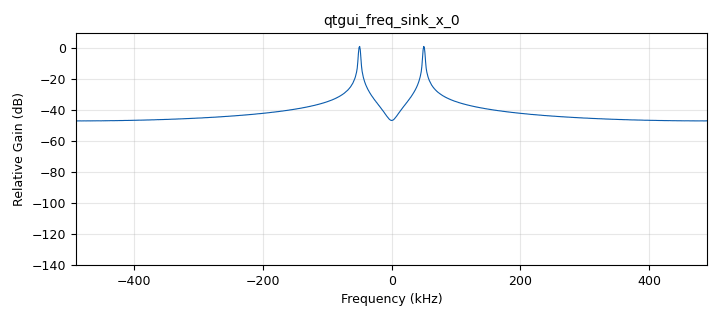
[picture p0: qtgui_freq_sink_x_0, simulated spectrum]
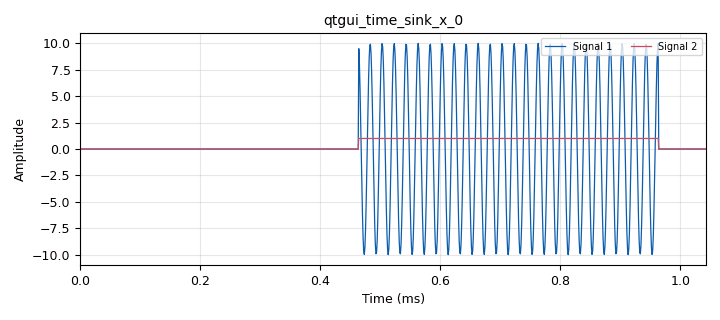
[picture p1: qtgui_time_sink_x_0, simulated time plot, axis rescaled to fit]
options:
  parameters:
    author: Alexis Lema
    generate_options: qt_gui
    id: ook
    output_language: python
    title: OOK
  states: {}

blocks:
- name: camer_freq
  id: variable_qtgui_range
  parameters:
    start: '10000'
    step: '1000'
    stop: '100000'
    value: '50000'
  states: {}
- name: mod_freq
  id: variable_qtgui_range
  parameters:
    start: '100'
    step: '100'
    stop: '10000'
    value: '1000'
  states: {}
- name: my_delay
  id: variable_qtgui_range
  parameters:
    start: '0'
    step: '1'
    stop: '2000'
    value: '50'
  states: {}
- name: samp_rate
  id: variable
  parameters:
    value: '980000.0'
  states: {}
- name: analog_random_uniform_source_x_0
  id: analog_random_uniform_source_x
  parameters:
    maximum: '2'
    minimum: '0'
    seed: '0'
    type: byte
  states: {}
- name: analog_sig_source_x_0
  id: analog_sig_source_x
  parameters:
    amp: '1'
    freq: '1000'
    offset: '0'
    phase: '0'
    samp_rate: samp_rate
    type: float
    waveform: analog.GR_SQR_WAVE
  states: {}
- name: analog_sig_source_x_1
  id: analog_sig_source_x
  parameters:
    amp: '10'
    freq: '50000'
    offset: '0'
    phase: '0'
    samp_rate: samp_rate
    type: float
    waveform: analog.GR_COS_WAVE
  states: {}
- name: blocks_add_const_vxx_0
  id: blocks_add_const_vxx
  parameters:
    const: '0'
    type: float
  states: {}
- name: blocks_delay_0
  id: blocks_delay
  parameters:
    delay: '50'
    type: float
  states: {state: disabled}
- name: blocks_multiply_xx_0
  id: blocks_multiply_xx
  parameters:
    type: float
  states: {}
- name: blocks_repeat_0
  id: blocks_repeat
  parameters:
    interp: '980'
    type: byte
  states: {}
- name: blocks_selector_0
  id: blocks_selector
  parameters:
    enabled: 'True'
    input_index: '0'
    num_inputs: '2'
    num_outputs: '1'
    output_index: '0'
    type: float
  states: {}
- name: blocks_throttle_0
  id: blocks_throttle
  parameters:
    samples_per_second: samp_rate
    type: float
  states: {}
- name: blocks_uchar_to_float_0
  id: blocks_uchar_to_float
  parameters: {}
  states: {}
- name: qtgui_freq_sink_x_0
  id: qtgui_freq_sink_x
  parameters:
    bw: samp_rate
    fc: '0'
    fftsize: '1024'
    type: float
  states: {}
- name: qtgui_time_sink_x_0
  id: qtgui_time_sink_x
  parameters:
    entags: 'False'
    nconnections: '2'
    size: '1024'
    srate: samp_rate
    type: float
  states: {}
- name: virtual_sink_0
  id: virtual_sink
  parameters:
    stream_id: channel
  states: {state: disabled}
- name: virtual_sink_1
  id: virtual_sink
  parameters:
    stream_id: compare
  states: {state: disabled}

connections:
- [analog_random_uniform_source_x_0, '0', blocks_repeat_0, '0']
- [analog_sig_source_x_0, '0', blocks_selector_0, '0']
- [analog_sig_source_x_1, '0', blocks_multiply_xx_0, '1']
- [blocks_add_const_vxx_0, '0', blocks_multiply_xx_0, '0']
- [blocks_delay_0, '0', virtual_sink_1, '0']
- [blocks_multiply_xx_0, '0', blocks_throttle_0, '0']
- [blocks_repeat_0, '0', blocks_uchar_to_float_0, '0']
- [blocks_selector_0, '0', blocks_add_const_vxx_0, '0']
- [blocks_selector_0, '0', blocks_delay_0, '0']
- [blocks_selector_0, '0', qtgui_time_sink_x_0, '1']
- [blocks_throttle_0, '0', qtgui_freq_sink_x_0, '0']
- [blocks_throttle_0, '0', qtgui_time_sink_x_0, '0']
- [blocks_throttle_0, '0', virtual_sink_0, '0']
- [blocks_uchar_to_float_0, '0', blocks_selector_0, '1']

metadata:
  file_format: 1
